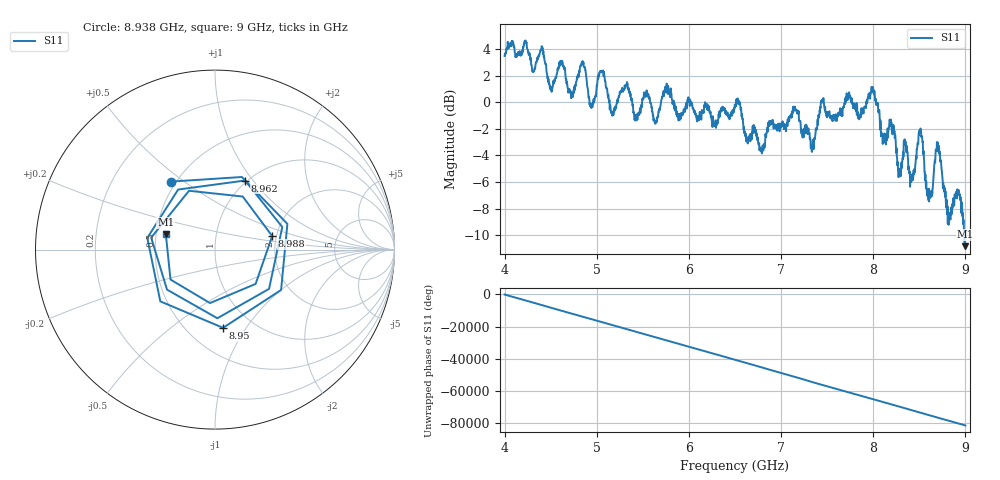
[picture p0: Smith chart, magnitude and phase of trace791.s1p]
! Created with skrf 1.8.0 (http://scikit-rf.org).
# Hz S RI R 50.0
!freq ReS11 ImS11
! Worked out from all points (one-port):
!   1601 points, 4 GHz to 9 GHz, reference 50 ohm
!   lowest |S11| = -10.8 dB at 9 GHz (marker M1), VSWR 1.81, Z = 28.1 + j5.29 ohm
!   |S11| at or under -10 dB: 8.989049 GHz to end of sweep
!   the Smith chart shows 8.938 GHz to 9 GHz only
!   S11 on the Smith chart (normalised r, x): 8.938 GHz: 0.47, +0.45; 8.95 GHz: 0.73, -0.79; 8.962 GHz: 0.98, +0.92; 8.988 GHz: 1.90, +0.32; 9 GHz: 0.56, +0.11
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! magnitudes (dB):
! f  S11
! 4 GHz  3.5
! 4.403 GHz  4.2
! 4.503 GHz  0.9
! 4.625 GHz  3.1
! 4.853 GHz  2.9
! 4.947 GHz  -0.2
! 5.053 GHz  2.4
! 5.25 GHz  0.8
! 5.875 GHz  -1.1
! 6.5 GHz  -0.2
! 6.791 GHz  -3.8
! 7.125 GHz  -0.8
! 7.341 GHz  -3.5
! 7.444 GHz  0.0
! 7.75 GHz  0.5
! 7.994 GHz  1.2
! 8.284 GHz  -5.5
! 8.375 GHz  -4.1
! 8.425 GHz  -5.4
! 8.512 GHz  -2.0
! 8.597 GHz  -6.7
! 8.7 GHz  -3.0
! 8.819 GHz  -9.2
! 8.938 GHz  -6.9
! 8.95 GHz  -7.2
! 8.962 GHz  -7.5
! 8.988 GHz  -9.7
! 9 GHz  -10.8
